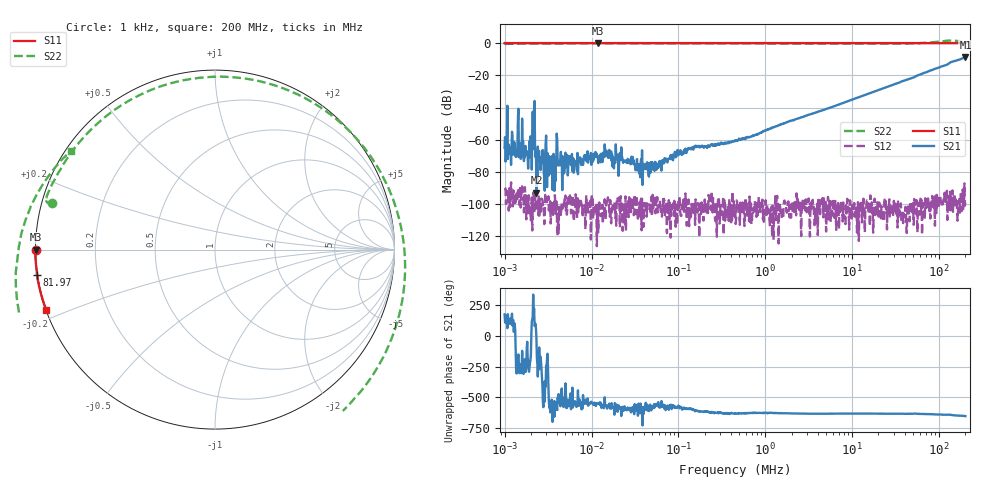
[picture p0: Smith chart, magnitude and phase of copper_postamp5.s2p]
! ListType=Log
# MHZ S RI R 50
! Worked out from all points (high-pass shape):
!   1000 points, 1 kHz to 200 MHz, reference 50 ohm
!   highest |S21| = -8.67 dB at 200 MHz (marker M1); lowest = -92.8 dB at 2.324 kHz (marker M2)
!   |S21| within 3 dB of the highest: 138.6 MHz to end of sweep
!   lowest |S11| = 0.0 dB at 11.95 kHz (marker M3), VSWR 537.44, Z = 0.093 + j0.00885 ohm
!   |S11| at or under -10 dB: nowhere
!   |S22| runs from -0.5 to 1.7 dB; largest |S21 - S12| = 0.37
!   S11 on the Smith chart (normalised r, x): 1 kHz: 0.00, +0.00; 81.97 MHz: -0.00, -0.07; 200 MHz: 0.00, -0.17
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0.001  -0.9999 0.000375  -0.000562 2.43e-05  -1.15e-05 -2.99e-05  -0.9089 0.26
0.0013245  -1 -0.000867  0.000217 0.000225  1.81e-05 -1.6e-06  -0.9155 0.258
0.0014966  -0.9999 -9.84e-05  -0.000439 0.000494  2e-07 -2.87e-05  -0.9186 0.2574
0.0017758  -0.9998 -0.000128  -0.000152 0.000418  -1.8e-06 -2.9e-06  -0.9228 0.2575
0.0019344  -0.9996 3.33e-05  -0.000228 0.000894  -5e-06 -6.4e-06  -0.9247 0.2577
0.0021071  -0.9996 3.98e-05  -0.00713 0.00224  -1.04e-05 -3.3e-06  -0.927 0.2585
0.0023235  -0.9992 -0.000393  2.12e-05 -8.4e-06  -6.1e-06 -2e-07  -0.9294 0.2595
0.0024398  -0.9995 -3.52e-05  -0.000203 9.23e-05  3.3e-06 3.2e-06  -0.9303 0.2599
0.0027235  -0.9994 -0.00036  0.000125 -0.000158  -1.3e-06 -1.37e-05  -0.9328 0.2612
0.0076941  -0.9996 3.51e-05  -0.00013 0.000214  -2.1e-06 8.4e-06  -0.9422 0.2759
0.011945  -0.9963 0.000353  -0.000184 4.75e-05  -1.2e-06 6e-07  -0.9435 0.2782
0.0584804  -0.9996 -0.000127  -0.000132 -2.3e-06  1.1e-06 -7.5e-06  -0.9406 0.2882
0.1358774  -0.9996 -0.000377  -0.000295 0.000458  -4.5e-06 2.8e-06  -0.9395 0.2905
0.4499541  -0.9997 -0.000846  7.65e-05 0.000902  1.8e-06 7.1e-06  -0.9349 0.303
3.419952  -1 -0.00621  0.000403 0.00634  -1.8e-06 -7.2e-06  -0.8867 0.4028
26.31347  -0.9996 -0.0461  0.00288 0.0457  3.6e-06 -3.5e-06  -0.3118 0.9064
50.9003  -0.9973 -0.0882  0.00557 0.0859  -1e-07 -2.3e-06  0.4925 0.8486
81.97236  -0.9913 -0.1411  0.0201 0.144  5.3e-06 -7.1e-06  1.057 -0.0223
104.6632  -0.9849 -0.1793  0.0341 0.1839  -1.05e-05 -5.5e-06  0.8113 -0.7913
133.6352  -0.9742 -0.2276  0.0527 0.244  -2.39e-05 -5.9e-06  -0.1491 -1.193
166.5079  -0.9595 -0.281  0.1023 0.2842  -7e-06 -1.02e-05  -1.054 -0.491
200  -0.9414 -0.3356  0.1495 0.3369  -1.29e-05 -6.6e-06  -0.8026 0.5506
